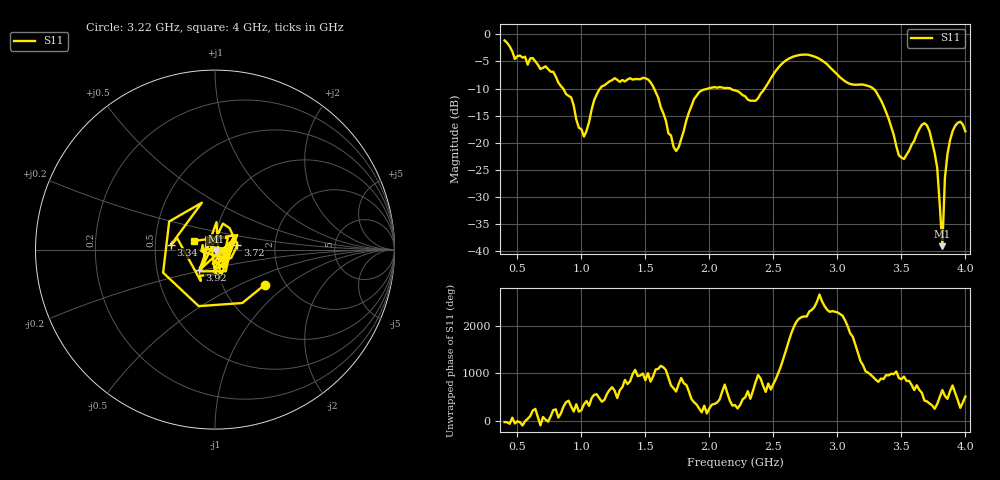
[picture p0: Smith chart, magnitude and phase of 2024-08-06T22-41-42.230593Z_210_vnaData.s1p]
!Created with skrf (http://scikit-rf.org).
# Hz S RI R 50.0
!freq ReS11 ImS11
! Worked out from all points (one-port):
!   181 points, 400 MHz to 4 GHz, reference 50 ohm
!   lowest |S11| = -39.0 dB at 3.82 GHz (marker M1), VSWR 1.02, Z = 50.4 - j1.04 ohm
!   |S11| at or under -10 dB: 857 MHz to 1.146 GHz (289 MHz wide, 28.9 % of centre); 1.567 GHz to 1.991 GHz (423.2 MHz wide, 23.8 % of centre); 3.28 GHz to end of sweep (the widest 3 of 4)
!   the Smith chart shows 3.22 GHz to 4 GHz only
!   S11 on the Smith chart (normalised r, x): 3.22 GHz: 1.57, -0.70; 3.34 GHz: 0.60, +0.03; 3.72 GHz: 1.28, +0.07; 3.92 GHz: 0.82, -0.19; 4 GHz: 0.79, +0.08
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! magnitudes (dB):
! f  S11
! 400 MHz  -1.1
! 480 MHz  -4.6
! 620 MHz  -4.4
! 860 MHz  -10.1
! 1.02 GHz  -18.8
! 1.14 GHz  -10.2
! 1.3 GHz  -8.8
! 1.54 GHz  -8.8
! 1.72 GHz  -20.7
! 1.76 GHz  -20.8
! 1.92 GHz  -10.7
! 2.2 GHz  -10.3
! 2.36 GHz  -12.3
! 2.66 GHz  -4.1
! 2.84 GHz  -4.3
! 3.1 GHz  -9.2
! 3.22 GHz  -9.4
! 3.34 GHz  -12.1
! 3.48 GHz  -22.3
! 3.56 GHz  -21.4
! 3.66 GHz  -16.7
! 3.72 GHz  -17.9
! 3.78 GHz  -24.6
! 3.82 GHz  -39.0
! 3.84 GHz  -26.5
! 3.88 GHz  -19.5
! 3.92 GHz  -16.9
! 4 GHz  -17.9
